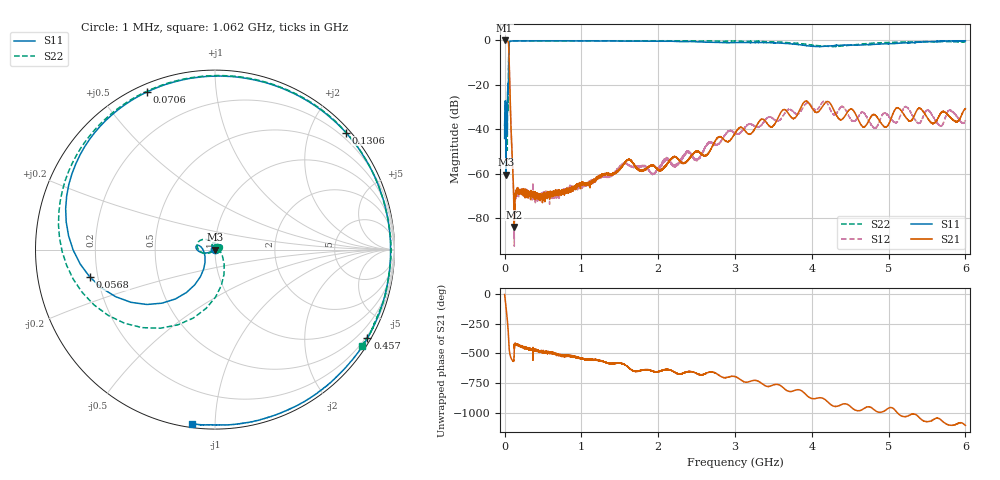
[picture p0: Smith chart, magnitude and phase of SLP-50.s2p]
# GHZ S RI R 50.000000000000
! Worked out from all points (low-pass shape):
!   10000 points, 1 MHz to 6 GHz, reference 50 ohm
!   highest |S21| = 0.01 dB at 1 MHz (marker M1); lowest = -83.9 dB at 125.8 MHz (marker M2)
!   |S21| within 3 dB of the highest: start of sweep to 54.97 MHz
!   lowest |S11| = -60.4 dB at 20.8 MHz (marker M3), VSWR 1.00, Z = 49.9 + j0.00872 ohm
!   |S11| at or under -10 dB: start of sweep to 52.88 MHz
!   |S22| runs from -49.4 to -0.1 dB; largest |S21 - S12| = 0.019
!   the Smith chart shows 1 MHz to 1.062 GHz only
!   S11 on the Smith chart (normalised r, x): 1 MHz: 1.00, +0.01; 56.8 MHz: 0.17, -0.10; 70.6 MHz: 0.03, +0.66; 130.6 MHz: 0.09, +2.62; 457 MHz: 0.13, -3.71; 1.062 GHz: 0.02, -0.88
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0.001  -0.00168 0.00601  0.9971 -0.0931  0.9816 -0.1048  0.00981 0.00804
0.02079868  -0.000946 8.73e-05  -0.4723 -0.863  -0.4732 -0.8625  -0.00288 -0.00254
0.05679628  -0.6984 -0.1515  0.2516 -0.4919  0.2583 -0.4896  -0.5949 -0.3666
0.07059536  -0.3794 0.878  -0.0491 -0.0301  -0.0486 -0.0311  -0.5434 0.7839
0.1023932  0.4572 0.8609  -0.00178 0.000663  -0.00175 0.00063  0.3059 0.9256
0.1257917  0.697 0.6858  -3.09e-05 -5.57e-05  -3.22e-05 -1.31e-05  0.5653 0.7998
0.1305914  0.73 0.6514  5.51e-05 -0.00012  7.26e-05 -0.000142  0.6012 0.7735
0.4569696  0.8496 -0.4929  -0.000184 -0.000263  -0.000187 -0.00022  0.9802 -0.0391
1.001133  -0.0213 -0.9767  -0.000624 3.11e-05  -0.000545 5.3e-05  0.8428 -0.5015
1.062329  -0.1281 -0.9704  -0.000584 9.31e-05  -0.000584 8.36e-05  0.8184 -0.5383
1.612493  -0.8544 -0.4569  -0.000419 0.00199  -0.000258 0.00158  0.5843 -0.7857
2.001267  -0.9496 0.1532  0.000528 0.00112  -3.48e-06 0.00119  0.3989 -0.8983
3.0008  0.2432 0.8622  0.00738 0.00338  0.00819 9.38e-05  -0.0876 -0.9703
3.624758  0.8605 -0.0988  0.0108 -0.0251  0.00969 -0.0176  -0.3933 -0.831
4.000933  -0.2771 -0.6898  -0.0288 -0.0106  -0.0295 -0.0138  -0.4716 -0.6351
4.176722  -0.7355 0.0928  -0.0392 -0.00654  -0.0429 0.00687  -0.4467 -0.596
4.387907  -0.1119 0.7747  -0.0142 0.00847  -0.0264 0.0186  -0.4464 -0.6022
4.815079  0.7513 0.3221  -0.00516 0.0208  -0.00141 0.0109  -0.6218 -0.6181
5.000467  0.8446 0.013  -0.00658 0.0111  0.00311 0.0195  -0.7183 -0.549
5.112659  0.8449 -0.177  0.00462 0.0303  0.000161 0.0145  -0.7644 -0.5093
5.577628  0.4674 -0.8204  0.0127 0.00473  0.0197 -0.00193  -0.8991 -0.2678
6  -0.2239 -0.9555  0.0262 -0.0129  0.0157 -0.00302  -0.9292 0.00611
